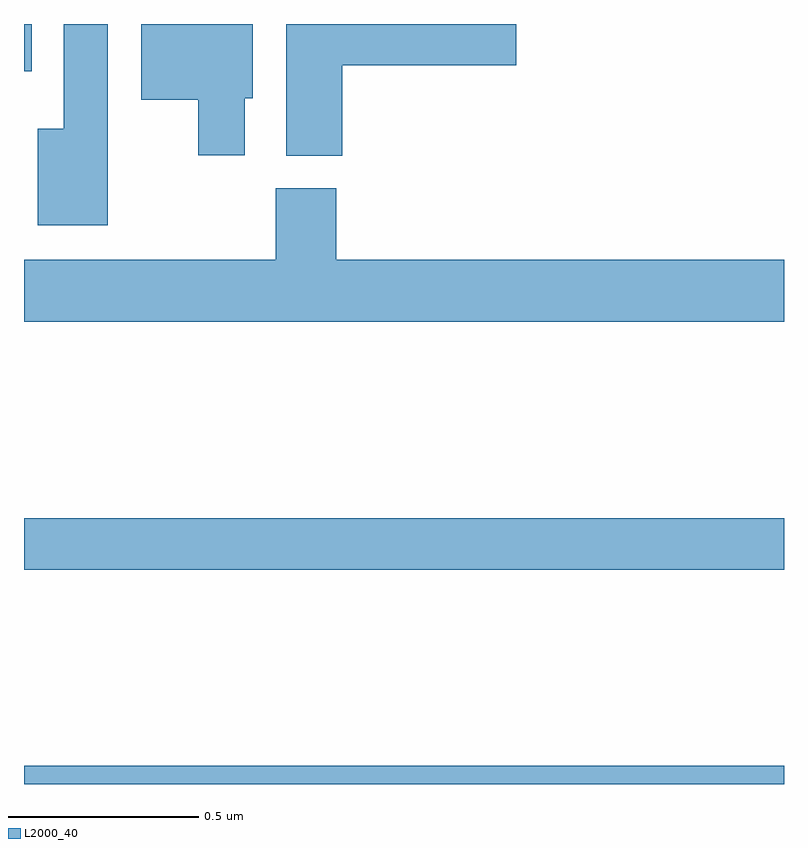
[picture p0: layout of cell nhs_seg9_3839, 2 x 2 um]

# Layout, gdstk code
import gdstk
lib = gdstk.Library(unit=1e-6, precision=1e-09)
def R(c, l, rs):  # rectangles x0, y0, x1, y1
    for r in rs: c.add(gdstk.rectangle(r[:2], r[2:], *l))
def P(c, l, *ps):  # polygons
    for p in ps: c.add(gdstk.Polygon(p, *l))
L2000_40 = (2000, 40)

nhs_seg9_3839 = lib.new_cell('nhs_seg9_3839')
R(nhs_seg9_3839, L2000_40, [(158,1232.5,160,1232.548), (158,1233.064,160,1233.2), (158,1234.376,158.02,1234.5)])
P(nhs_seg9_3839, L2000_40, [(158.221,1234.5),(158.109,1234.5),(158.109,1234.499),(158.105,1234.499),(158.105,1234.225),(158.036,1234.225),(158.036,1233.971),(158.221,1233.971)],
  [(158.581,1234.305),(158.602,1234.305),(158.602,1234.5),(158.309,1234.5),(158.309,1234.301),(158.459,1234.301),(158.459,1234.155),(158.581,1234.155)],
  [(158.837,1234.391),(159.295,1234.391),(159.295,1234.5),(158.69,1234.5),(158.69,1234.153),(158.837,1234.153)],
  [(160,1233.88),(158.822,1233.88),(158.822,1234.068),(158.662,1234.068),(158.662,1233.88),(158,1233.88),(158,1233.716),(160,1233.716)])

lib.write_gds('nhs_seg9_3839.gds')
